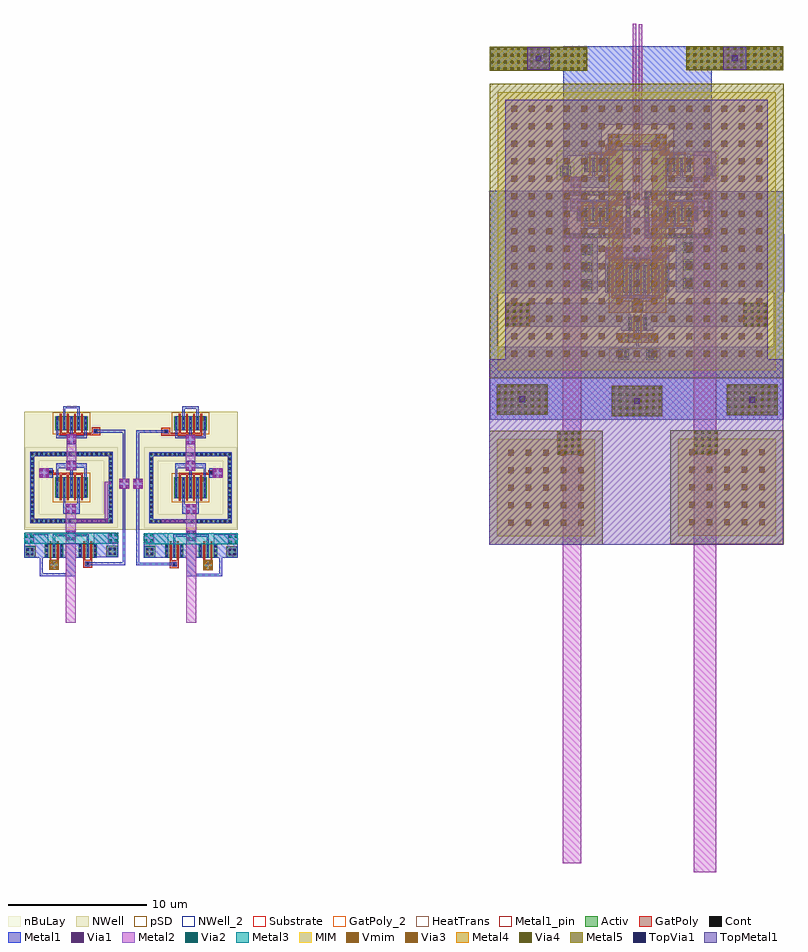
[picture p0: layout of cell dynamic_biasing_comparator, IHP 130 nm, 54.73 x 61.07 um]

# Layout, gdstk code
from math import pi, radians
import gdstk
lib = gdstk.Library(unit=1e-6, precision=1e-09)
def R(c, l, rs):  # rectangles x0, y0, x1, y1
    for r in rs: c.add(gdstk.rectangle(r[:2], r[2:], *l))
def A(c, l, x, y, w, h, nx, ny, dx, dy):  # array of equal rectangles
    R(c, l, [(x+i*dx, y+j*dy, x+i*dx+w, y+j*dy+h) for i in range(nx) for j in range(ny)])
def P(c, l, *ps):  # polygons
    for p in ps: c.add(gdstk.Polygon(p, *l))
Activ = (1, 0)
GatPoly = (5, 0)
GatPoly_2 = (5, 2)
Cont = (6, 0)
Metal1 = (8, 0)
Metal1_pin = (8, 2)
Metal2 = (10, 0)
pSD = (14, 0)
Via1 = (19, 0)
Via2 = (29, 0)
Metal3 = (30, 0)
NWell = (31, 0)
NWell_2 = (31, 2)
nBuLay = (32, 0)
MIM = (36, 0)
Substrate = (40, 0)
Via3 = (49, 0)
Metal4 = (50, 0)
HeatTrans = (51, 0)
Via4 = (66, 0)
Metal5 = (67, 0)
TopVia1 = (125, 0)
TopMetal1 = (126, 0)
Vmim = (129, 0)

cmim = lib.new_cell('cmim')
R(cmim, MIM, [(0,0,20,20)])
R(cmim, Metal5, [(-0.6,-0.6,20.6,20.6)])
R(cmim, TopMetal1, [(0.55,0.55,19.45,19.45)])
A(cmim, Vmim, 0.97, 0.97, 0.42, 0.42, 15, 15, 1.26, 1.26)

via_stack_8 = lib.new_cell('via_stack$8')
R(via_stack_8, Metal1, [(-0.35,-0.35,0.35,0.35)])
R(via_stack_8, Metal2, [(-0.35,-0.35,0.35,0.35)])
R(via_stack_8, Via1, [(-0.3,-0.3,-0.11,-0.11), (0.11,-0.3,0.3,-0.11), (-0.3,0.11,-0.11,0.3), (0.11,0.11,0.3,0.3)])
R(via_stack_8, Via2, [(-0.3,-0.3,-0.11,-0.11), (0.11,-0.3,0.3,-0.11), (-0.3,0.11,-0.11,0.3), (0.11,0.11,0.3,0.3)])
R(via_stack_8, Metal3, [(-0.35,-0.35,0.35,0.35)])
R(via_stack_8, Via3, [(-0.3,-0.3,-0.11,-0.11), (0.11,-0.3,0.3,-0.11), (-0.3,0.11,-0.11,0.3), (0.11,0.11,0.3,0.3)])
R(via_stack_8, Metal4, [(-0.35,-0.35,0.35,0.35)])

via_stack_6 = lib.new_cell('via_stack$6')
R(via_stack_6, Metal1, [(-0.865,-0.865,0.865,0.865)])
R(via_stack_6, Metal2, [(-0.865,-0.865,0.865,0.865)])
A(via_stack_6, Via1, -0.815, -0.815, 0.19, 0.19, 4, 4, 0.48, 0.48)
A(via_stack_6, Via2, -0.815, -0.815, 0.19, 0.19, 4, 4, 0.48, 0.48)
R(via_stack_6, Metal3, [(-0.865,-0.865,0.865,0.865)])
A(via_stack_6, Via3, -0.815, -0.815, 0.19, 0.19, 4, 4, 0.48, 0.48)
R(via_stack_6, Metal4, [(-0.865,-0.865,0.865,0.865)])
A(via_stack_6, Via4, -0.815, -0.815, 0.19, 0.19, 4, 4, 0.48, 0.48)
R(via_stack_6, Metal5, [(-0.865,-0.865,0.865,0.865)])

ntap1 = lib.new_cell('ntap1')
R(ntap1, Activ, [(0,0,0.78,0.78)])
R(ntap1, Cont, [(0.14,0.14,0.3,0.3), (0.48,0.14,0.64,0.3), (0.14,0.48,0.3,0.64), (0.48,0.48,0.64,0.64)])
R(ntap1, Metal1, [(0.14,0.09,0.64,0.69)])
R(ntap1, Metal1_pin, [(0.14,0.09,0.64,0.69), (0.14,0.14,0.64,0.64)])
R(ntap1, NWell, [(-0.24,-0.24,1.02,1.02), (0,0,0.78,0.78)])
R(ntap1, NWell_2, [(0,0,0.78,0.78)])
R(ntap1, nBuLay, [(-0.24,-0.24,1.02,1.02)])
ntap1.add(gdstk.Label('well', (0.39,0.01), layer=31, texttype=0))
ntap1.add(gdstk.Label('well', (0.39,0.01), layer=63, texttype=0))

via_stack = lib.new_cell('via_stack')
R(via_stack, Metal1, [(-0.35,-0.35,0.35,0.35)])
R(via_stack, Metal2, [(-0.35,-0.35,0.35,0.35)])
R(via_stack, Via1, [(-0.3,-0.3,-0.11,-0.11), (0.11,-0.3,0.3,-0.11), (-0.3,0.11,-0.11,0.3), (0.11,0.11,0.3,0.3)])

nmos_3 = lib.new_cell('nmos$3')
A(nmos_3, Activ, 0, 0, 0.3, 0.3, 6, 1, 0.51, 0)
R(nmos_3, Activ, [(-1,-0.88,-0.7,1.88), (3.55,-0.88,3.85,1.88), (0,0,2.85,1), (-1,1.88,3.85,2.18)])
P(nmos_3, Activ, [(-1,-1.18),(-1,1.88),(-0.7,1.88),(-0.7,-0.88),(3.55,-0.88),(3.55,1.88),(-1,1.88),(-1,2.18),(3.85,2.18),(3.85,-1.18)])
A(nmos_3, GatPoly, 0.34, -0.18, 0.13, 1.36, 5, 1, 0.51, 0)
R(nmos_3, GatPoly_2, [(0.34,-0.18,0.47,1.18)])
A(nmos_3, Cont, -0.93, -1.11, 0.16, 0.16, 7, 2, 0.34, 3.06)
A(nmos_3, Cont, 1.58, -1.11, 0.16, 0.16, 7, 2, 0.34, 3.06)
A(nmos_3, Cont, -0.93, -0.77, 0.16, 0.16, 1, 3, 0, 0.34)
A(nmos_3, Cont, 3.62, -0.77, 0.16, 0.16, 1, 3, 0, 0.34)
A(nmos_3, Cont, 0.07, 0.07, 0.16, 0.16, 6, 3, 0.51, 0.35)
A(nmos_3, Cont, -0.93, 0.59, 0.16, 0.16, 1, 4, 0, 0.34)
A(nmos_3, Cont, 3.62, 0.59, 0.16, 0.16, 1, 4, 0, 0.34)
A(nmos_3, Metal1, 0.07, 0, 0.16, 1, 6, 1, 0.51, 0)
R(nmos_3, Metal1, [(-1,-1.18,3.85,-0.88), (-1,-0.88,-0.7,1.88), (3.55,-0.88,3.85,1.88), (-1,1.88,3.85,2.18)])
R(nmos_3, Metal1_pin, [(0.07,0,0.23,1), (0.58,0,0.74,1)])
R(nmos_3, pSD, [(-1.03,-0.85,-0.67,1.85), (3.52,-0.85,3.88,1.85), (-1.03,1.85,3.88,2.21)])
P(nmos_3, pSD, [(-1.03,-1.21),(-1.03,1.85),(-0.67,1.85),(-0.67,-0.85),(3.52,-0.85),(3.52,1.85),(-1.03,1.85),(-1.03,2.21),(3.88,2.21),(3.88,-1.21)])
R(nmos_3, Substrate, [(-1.03,-0.85,-0.67,1.85), (3.52,-0.85,3.88,1.85), (-1.03,1.85,3.88,2.21)])
P(nmos_3, Substrate, [(-1.03,-1.21),(-1.03,1.85),(-0.67,1.85),(-0.67,-0.85),(3.52,-0.85),(3.52,1.85),(-1.03,1.85),(-1.03,2.21),(3.88,2.21),(3.88,-1.21)])
A(nmos_3, HeatTrans, 0.34, -0.18, 0.13, 1.36, 5, 1, 0.51, 0)
nmos_3.add(gdstk.Label('nmos', (0.405,0.5), layer=63, texttype=0))
nmos_3.add(gdstk.Label('sub!', (1.425,-1.03), layer=63, texttype=0))
nmos_3.add(gdstk.Label('nmos', (0.405,0.5), layer=51, texttype=0))
nmos_3.add(gdstk.Label('nmos', (0.915,0.5), layer=51, texttype=0))
nmos_3.add(gdstk.Label('nmos', (1.425,0.5), layer=51, texttype=0))
nmos_3.add(gdstk.Label('nmos', (1.935,0.5), layer=51, texttype=0))
nmos_3.add(gdstk.Label('nmos', (2.445,0.5), layer=51, texttype=0))

via_stack_5 = lib.new_cell('via_stack$5')
R(via_stack_5, Metal1, [(-2.305,-0.385,2.305,0.385)])
R(via_stack_5, Metal2, [(-2.305,-0.385,2.305,0.385)])
A(via_stack_5, Via1, -2.255, -0.335, 0.19, 0.19, 10, 2, 0.48, 0.48)

via_stack_1 = lib.new_cell('via_stack$1')
R(via_stack_1, Metal1, [(-0.145,-0.145,0.145,0.145)])
R(via_stack_1, Metal2, [(-0.145,-0.145,0.145,0.145)])
R(via_stack_1, Via1, [(-0.095,-0.095,0.095,0.095)])

pmos_4 = lib.new_cell('pmos$4')
A(pmos_4, Activ, 0, 0, 0.3, 0.3, 4, 1, 0.51, 0)
R(pmos_4, Activ, [(0,0,1.83,1)])
A(pmos_4, GatPoly, 0.34, -0.18, 0.13, 1.36, 3, 1, 0.51, 0)
R(pmos_4, GatPoly, [(0.34,-0.18,0.47,1.18)])
A(pmos_4, Cont, 0.07, 0.07, 0.16, 0.16, 4, 3, 0.51, 0.35)
A(pmos_4, Metal1, 0.58, 0, 0.16, 1, 3, 1, 0.51, 0)
R(pmos_4, Metal1, [(0.07,0,0.23,1), (0.07,0,0.23,1), (0.58,0,0.74,1)])
R(pmos_4, pSD, [(-0.18,-0.3,2.01,1.3)])
R(pmos_4, NWell, [(-0.31,-0.31,2.14,1.31)])
R(pmos_4, Substrate, [(1.53,0,1.83,0.3)])
A(pmos_4, HeatTrans, 0.34, -0.18, 0.13, 1.36, 3, 1, 0.51, 0)
pmos_4.add(gdstk.Label('pmos', (0.405,0.5), layer=63, texttype=0))
pmos_4.add(gdstk.Label('pmos', (0.405,0.5), layer=51, texttype=0))
pmos_4.add(gdstk.Label('pmos', (0.915,0.5), layer=51, texttype=0))
pmos_4.add(gdstk.Label('pmos', (1.425,0.5), layer=51, texttype=0))

nmos_4 = lib.new_cell('nmos$4')
A(nmos_4, Activ, 0, 0, 0.3, 0.3, 9, 1, 0.51, 0)
R(nmos_4, Activ, [(0,0,4.38,2)])
A(nmos_4, GatPoly, 0.34, -0.18, 0.13, 2.36, 8, 1, 0.51, 0)
R(nmos_4, GatPoly_2, [(0.34,-0.18,0.47,2.18)])
A(nmos_4, Cont, 0.07, 0.07, 0.16, 0.16, 9, 6, 0.51, 0.34)
A(nmos_4, Metal1, 0.07, 0, 0.16, 2, 9, 1, 0.51, 0)
R(nmos_4, Metal1_pin, [(0.07,0,0.23,2), (0.58,0,0.74,2)])
A(nmos_4, HeatTrans, 0.34, -0.18, 0.13, 2.36, 8, 1, 0.51, 0)
nmos_4.add(gdstk.Label('nmos', (0.405,1), layer=63, texttype=0))
nmos_4.add(gdstk.Label('nmos', (0.405,1), layer=51, texttype=0))
nmos_4.add(gdstk.Label('nmos', (0.915,1), layer=51, texttype=0))
nmos_4.add(gdstk.Label('nmos', (1.425,1), layer=51, texttype=0))
nmos_4.add(gdstk.Label('nmos', (1.935,1), layer=51, texttype=0))
nmos_4.add(gdstk.Label('nmos', (2.445,1), layer=51, texttype=0))
nmos_4.add(gdstk.Label('nmos', (2.955,1), layer=51, texttype=0))
nmos_4.add(gdstk.Label('nmos', (3.465,1), layer=51, texttype=0))
nmos_4.add(gdstk.Label('nmos', (3.975,1), layer=51, texttype=0))

via_stack_10 = lib.new_cell('via_stack$10')
R(via_stack_10, Metal1, [(-3.505,-0.865,3.505,0.865)])
R(via_stack_10, Metal2, [(-3.505,-0.865,3.505,0.865)])
A(via_stack_10, Via1, -3.455, -0.815, 0.19, 0.19, 15, 4, 0.48, 0.48)
A(via_stack_10, Via2, -3.455, -0.815, 0.19, 0.19, 15, 4, 0.48, 0.48)
R(via_stack_10, Metal3, [(-3.505,-0.865,3.505,0.865)])
A(via_stack_10, Via3, -3.455, -0.815, 0.19, 0.19, 15, 4, 0.48, 0.48)
R(via_stack_10, Metal4, [(-3.505,-0.865,3.505,0.865)])
A(via_stack_10, Via4, -3.455, -0.815, 0.19, 0.19, 15, 4, 0.48, 0.48)
R(via_stack_10, Metal5, [(-3.505,-0.865,3.505,0.865), (-0.31,-0.31,0.31,0.31)])
R(via_stack_10, TopVia1, [(-0.21,-0.21,0.21,0.21)])
R(via_stack_10, TopMetal1, [(-0.82,-0.82,0.82,0.82)])

ptap1 = lib.new_cell('ptap1')
R(ptap1, Activ, [(0,0,0.78,0.78)])
R(ptap1, Cont, [(0.14,0.14,0.3,0.3), (0.48,0.14,0.64,0.3), (0.14,0.48,0.3,0.64), (0.48,0.48,0.64,0.64)])
R(ptap1, Metal1, [(0.14,0.09,0.64,0.69), (0.14,0.14,0.64,0.64)])
R(ptap1, Metal1_pin, [(0.14,0.14,0.64,0.64)])
R(ptap1, pSD, [(-0.03,-0.03,0.81,0.81)])
R(ptap1, Substrate, [(0,0,0.78,0.78)])
ptap1.add(gdstk.Label('sub!', (0.39,0.01), layer=63, texttype=0))
ptap1.add(gdstk.Label('sub!', (0.39,0.01), layer=40, texttype=0))

pmos = lib.new_cell('pmos')
A(pmos, Activ, 0, 0, 0.3, 0.3, 5, 1, 0.51, 0)
R(pmos, Activ, [(0,0,2.34,1)])
A(pmos, GatPoly, 0.34, -0.18, 0.13, 1.36, 4, 1, 0.51, 0)
R(pmos, GatPoly, [(0.34,-0.18,0.47,1.18)])
A(pmos, Cont, 0.07, 0.07, 0.16, 0.16, 5, 3, 0.51, 0.35)
A(pmos, Metal1, 0.58, 0, 0.16, 1, 4, 1, 0.51, 0)
R(pmos, Metal1, [(0.07,0,0.23,1), (0.07,0,0.23,1), (0.58,0,0.74,1)])
R(pmos, pSD, [(-0.18,-0.3,2.52,1.3)])
R(pmos, NWell, [(-0.31,-0.31,2.65,1.31)])
R(pmos, Substrate, [(2.04,0,2.34,0.3)])
A(pmos, HeatTrans, 0.34, -0.18, 0.13, 1.36, 4, 1, 0.51, 0)
pmos.add(gdstk.Label('pmos', (0.405,0.5), layer=63, texttype=0))
pmos.add(gdstk.Label('pmos', (0.405,0.5), layer=51, texttype=0))
pmos.add(gdstk.Label('pmos', (0.915,0.5), layer=51, texttype=0))
pmos.add(gdstk.Label('pmos', (1.425,0.5), layer=51, texttype=0))
pmos.add(gdstk.Label('pmos', (1.935,0.5), layer=51, texttype=0))

nmos_7 = lib.new_cell('nmos$7')
A(nmos_7, Activ, 0, 0, 0.3, 0.3, 3, 1, 0.51, 0)
R(nmos_7, Activ, [(0,0,1.32,1)])
R(nmos_7, GatPoly, [(0.34,-0.18,0.47,1.18), (0.85,-0.18,0.98,1.18)])
R(nmos_7, GatPoly_2, [(0.34,-0.18,0.47,1.18)])
A(nmos_7, Cont, 0.07, 0.07, 0.16, 0.16, 3, 3, 0.51, 0.35)
A(nmos_7, Metal1, 0.07, 0, 0.16, 1, 3, 1, 0.51, 0)
R(nmos_7, Metal1_pin, [(0.07,0,0.23,1), (0.58,0,0.74,1)])
R(nmos_7, HeatTrans, [(0.34,-0.18,0.47,1.18), (0.85,-0.18,0.98,1.18)])
nmos_7.add(gdstk.Label('nmos', (0.405,0.5), layer=63, texttype=0))
nmos_7.add(gdstk.Label('nmos', (0.405,0.5), layer=51, texttype=0))
nmos_7.add(gdstk.Label('nmos', (0.915,0.5), layer=51, texttype=0))

pmos_6 = lib.new_cell('pmos$6')
A(pmos_6, Activ, 0, 0, 0.3, 0.3, 5, 1, 0.51, 0)
R(pmos_6, Activ, [(-1.81,-1.51,-1.51,3.01), (3.85,-1.51,4.15,3.01), (0,0,2.34,1.5), (-1.81,3.01,4.15,3.31)])
P(pmos_6, Activ, [(-1.81,-1.81),(-1.81,3.01),(-1.51,3.01),(-1.51,-1.51),(3.85,-1.51),(3.85,3.01),(-1.81,3.01),(-1.81,3.31),(4.15,3.31),(4.15,-1.81)])
A(pmos_6, GatPoly, 0.34, -0.18, 0.13, 1.86, 4, 1, 0.51, 0)
R(pmos_6, GatPoly, [(0.34,-0.18,0.47,1.68)])
A(pmos_6, Cont, -1.74, -1.74, 0.16, 0.16, 8, 2, 0.34, 4.82)
A(pmos_6, Cont, 1.2, -1.74, 0.16, 0.16, 9, 2, 0.34, 4.82)
A(pmos_6, Cont, -1.74, -1.4, 0.16, 0.16, 1, 6, 0, 0.34)
A(pmos_6, Cont, 3.92, -1.4, 0.16, 0.16, 1, 6, 0, 0.34)
A(pmos_6, Cont, 0.07, 0.07, 0.16, 0.16, 5, 4, 0.51, 0.4)
A(pmos_6, Cont, -1.74, 0.7, 0.16, 0.16, 1, 7, 0, 0.34)
A(pmos_6, Cont, 3.92, 0.7, 0.16, 0.16, 1, 7, 0, 0.34)
A(pmos_6, Metal1, 0.58, 0, 0.16, 1.5, 4, 1, 0.51, 0)
R(pmos_6, Metal1, [(-1.81,-1.81,4.15,-1.51), (-1.81,-1.51,-1.51,3.01), (3.85,-1.51,4.15,3.01), (0.07,0,0.23,1.5), (0.07,0,0.23,1.5), (0.58,0,0.74,1.5), (-1.81,3.01,4.15,3.31)])
R(pmos_6, pSD, [(-0.18,-0.3,2.52,1.8)])
R(pmos_6, NWell, [(-2.05,-2.05,4.39,3.55), (-0.31,-0.31,2.65,1.81)])
R(pmos_6, nBuLay, [(-2.16,-1.16,-1.16,2.66), (3.5,-1.16,4.5,2.66), (-2.16,2.66,4.5,3.66)])
P(pmos_6, nBuLay, [(-2.16,-2.16),(-2.16,2.66),(-1.16,2.66),(-1.16,-1.16),(3.5,-1.16),(3.5,2.66),(-2.16,2.66),(-2.16,3.66),(4.5,3.66),(4.5,-2.16)])
R(pmos_6, Substrate, [(2.04,0,2.34,0.3)])
A(pmos_6, HeatTrans, 0.34, -0.18, 0.13, 1.86, 4, 1, 0.51, 0)
pmos_6.add(gdstk.Label('pmos', (0.405,0.75), layer=63, texttype=0))
pmos_6.add(gdstk.Label('well', (1.17,-1.66), layer=63, texttype=0))
pmos_6.add(gdstk.Label('pmos', (0.405,0.75), layer=51, texttype=0))
pmos_6.add(gdstk.Label('pmos', (0.915,0.75), layer=51, texttype=0))
pmos_6.add(gdstk.Label('pmos', (1.425,0.75), layer=51, texttype=0))
pmos_6.add(gdstk.Label('pmos', (1.935,0.75), layer=51, texttype=0))

via_stack_14 = lib.new_cell('via_stack$14')
R(via_stack_14, Metal1, [(-0.35,-0.35,0.35,0.35)])
R(via_stack_14, Metal2, [(-0.35,-0.35,0.35,0.35)])
R(via_stack_14, Via1, [(-0.3,-0.3,-0.11,-0.11), (0.11,-0.3,0.3,-0.11), (-0.3,0.11,-0.11,0.3), (0.11,0.11,0.3,0.3)])
R(via_stack_14, Via2, [(-0.3,-0.3,-0.11,-0.11), (0.11,-0.3,0.3,-0.11), (-0.3,0.11,-0.11,0.3), (0.11,0.11,0.3,0.3)])
R(via_stack_14, Metal3, [(-0.35,-0.35,0.35,0.35)])

via_stack_13 = lib.new_cell('via_stack$13')
R(via_stack_13, Metal2, [(-0.865,-0.865,0.865,0.865)])
A(via_stack_13, Via2, -0.815, -0.815, 0.19, 0.19, 4, 4, 0.48, 0.48)
R(via_stack_13, Metal3, [(-0.865,-0.865,0.865,0.865)])
A(via_stack_13, Via3, -0.815, -0.815, 0.19, 0.19, 4, 4, 0.48, 0.48)
R(via_stack_13, Metal4, [(-0.865,-0.865,0.865,0.865)])
A(via_stack_13, Via4, -0.815, -0.815, 0.19, 0.19, 4, 4, 0.48, 0.48)
R(via_stack_13, Metal5, [(-0.865,-0.865,0.865,0.865)])

via_stack_12 = lib.new_cell('via_stack$12')
R(via_stack_12, Metal1, [(-1.825,-1.105,1.825,1.105)])
R(via_stack_12, Metal2, [(-1.825,-1.105,1.825,1.105)])
A(via_stack_12, Via1, -1.775, -1.055, 0.19, 0.19, 8, 5, 0.48, 0.48)
A(via_stack_12, Via2, -1.775, -1.055, 0.19, 0.19, 8, 5, 0.48, 0.48)
R(via_stack_12, Metal3, [(-1.825,-1.105,1.825,1.105)])
A(via_stack_12, Via3, -1.775, -1.055, 0.19, 0.19, 8, 5, 0.48, 0.48)
R(via_stack_12, Metal4, [(-1.825,-1.105,1.825,1.105)])
A(via_stack_12, Via4, -1.775, -1.055, 0.19, 0.19, 8, 5, 0.48, 0.48)
R(via_stack_12, Metal5, [(-1.825,-1.105,1.825,1.105), (-0.31,-0.31,0.31,0.31)])
R(via_stack_12, TopVia1, [(-0.21,-0.21,0.21,0.21)])
R(via_stack_12, TopMetal1, [(-0.82,-0.82,0.82,0.82)])

cmim_1 = lib.new_cell('cmim$1')
R(cmim_1, MIM, [(0,0,7,7)])
R(cmim_1, Metal5, [(-0.6,-0.6,7.6,7.6)])
R(cmim_1, TopMetal1, [(0.35,0.35,6.65,6.65)])
A(cmim_1, Vmim, 0.77, 0.77, 0.42, 0.42, 5, 5, 1.26, 1.26)

nmos = lib.new_cell('nmos')
A(nmos, Activ, 0, 0, 0.3, 0.3, 3, 1, 0.51, 0)
R(nmos, Activ, [(0,0,1.32,1)])
R(nmos, GatPoly, [(0.34,-0.18,0.47,1.18), (0.85,-0.18,0.98,1.18)])
R(nmos, GatPoly_2, [(0.34,-0.18,0.47,1.18)])
A(nmos, Cont, 0.07, 0.07, 0.16, 0.16, 3, 3, 0.51, 0.35)
A(nmos, Metal1, 0.07, 0, 0.16, 1, 3, 1, 0.51, 0)
R(nmos, Metal1_pin, [(0.07,0,0.23,1), (0.58,0,0.74,1)])
R(nmos, HeatTrans, [(0.34,-0.18,0.47,1.18), (0.85,-0.18,0.98,1.18)])
nmos.add(gdstk.Label('nmos', (0.405,0.5), layer=63, texttype=0))
nmos.add(gdstk.Label('nmos', (0.405,0.5), layer=51, texttype=0))
nmos.add(gdstk.Label('nmos', (0.915,0.5), layer=51, texttype=0))

dynamic_biasing_comparat = lib.new_cell('dynamic_biasing_comparator')
R(dynamic_biasing_comparat, GatPoly, [(-16.595,-8.425,-15.955,-7.845), (-22.83,-8.41,-22.19,-7.83), (-14.175,-8.41,-13.535,-7.83), (-25.25,-8.395,-24.61,-7.815), (-17.195,1.12,-16.555,1.7), (-16.57,1.12,-14.275,1.32), (-24.51,1.135,-22.215,1.335), (-22.23,1.135,-21.59,1.715), (16.365,8.17,16.89,8.5), (17.27,8.17,17.995,8.5), (16.93,10.41,17.25,10.73), (15.23,13.545,18.93,13.78), (13.055,16.21,15.225,16.41), (13.055,16.21,15.225,16.41), (13.055,16.21,15.225,16.41), (13.055,16.21,15.225,16.41), (18.935,16.21,21.105,16.41), (18.935,16.21,21.105,16.41), (18.935,16.21,21.105,16.41), (18.935,16.21,21.105,16.41), (13.055,17.62,15.72,18.01), (13.055,17.62,15.72,18.01), (13.055,17.62,15.72,18.01), (13.055,17.62,15.72,18.01), (18.44,17.62,21.105,18.01), (18.44,17.62,21.105,18.01), (18.44,17.62,21.105,18.01), (18.44,17.62,21.105,18.01), (15.4,17.74,15.72,18.06), (15.4,17.74,15.72,18.06), (15.4,17.74,15.72,18.06), (15.4,17.74,15.72,18.06), (18.44,17.74,18.76,18.06), (18.44,17.74,18.76,18.06), (18.44,17.74,18.76,18.06), (18.44,17.74,18.76,18.06), (13.595,21.3,15.515,21.51), (14.785,21.3,15.515,22.05), (18.645,21.3,20.565,21.51), (18.645,21.3,19.375,22.05), (14.965,21.66,15.285,21.98), (15.125,21.66,15.445,21.98), (18.89,21.66,19.21,21.98)])
P(dynamic_biasing_comparat, GatPoly, [(-25.39,-1.69),(-25.39,-1.375),(-24.955,-1.375),(-24.955,-1.55),(-22.85,-1.55),(-22.85,-1.69)],
  [(-15.935,-1.705),(-15.935,-1.565),(-13.83,-1.565),(-13.83,-1.39),(-13.395,-1.39),(-13.395,-1.705)],
  [(16.76,10.31),(16.76,11.005),(15.225,11.005),(15.225,11.24),(16.76,11.24),(16.76,11.285),(17.4,11.285),(17.4,11.24),(18.93,11.24),(18.93,11.005),(17.4,11.005),(17.4,10.31)])
R(dynamic_biasing_comparat, Cont, [(-16.355,-8.205,-16.195,-8.045), (-22.59,-8.19,-22.43,-8.03), (-13.935,-8.19,-13.775,-8.03), (-25.01,-8.175,-24.85,-8.015), (-13.675,-1.62,-13.515,-1.46), (-25.27,-1.605,-25.11,-1.445), (-16.955,1.34,-16.795,1.5), (-21.99,1.355,-21.83,1.515), (16.5,8.27,16.66,8.43), (17.51,8.27,17.67,8.43), (17.01,10.49,17.17,10.65), (17.01,10.49,17.17,10.65), (17.01,10.49,17.17,10.65), (17.01,10.49,17.17,10.65), (15.48,17.82,15.64,17.98), (15.48,17.82,15.64,17.98), (15.48,17.82,15.64,17.98), (15.48,17.82,15.64,17.98), (18.52,17.82,18.68,17.98), (18.52,17.82,18.68,17.98), (18.52,17.82,18.68,17.98), (18.52,17.82,18.68,17.98), (15.045,21.74,15.205,21.9), (18.97,21.74,19.13,21.9)])
R(dynamic_biasing_comparat, Metal1, [(-15.405,-9.015,-14.705,-7.66), (-24.08,-9,-23.38,-7.645), (-14.205,-8.56,-13.505,-7.86), (-25.28,-8.545,-24.58,-7.845), (-13.425,-7.685,-11.69,-6), (-15.85,-7.675,-14.285,-6.675), (-27.095,-7.67,-25.36,-5.985), (-18.47,-7.665,-16.705,-5.9), (-24.5,-7.66,-22.935,-6.66), (-22.08,-7.65,-20.315,-5.885), (-13.765,-1.935,-12.79,-1.235), (-25.995,-1.92,-25.02,-1.22), (15.68,7.795,16.78,8.5), (17.365,7.795,18.585,8.5), (7.585,8.965,16.015,10.695), (16.67,10.005,17.485,10.78), (14.315,16.07,14.475,16.71), (14.315,16.07,14.475,16.71), (14.315,16.07,14.475,16.71), (14.315,16.07,14.475,16.71), (19.685,16.07,19.845,16.71), (19.685,16.07,19.845,16.71), (19.685,16.07,19.845,16.71), (19.685,16.07,19.845,16.71), (15.335,16.075,15.495,16.715), (15.335,16.075,15.495,16.715), (15.335,16.075,15.495,16.715), (15.335,16.075,15.495,16.715), (18.665,16.075,18.825,16.715), (18.665,16.075,18.825,16.715), (18.665,16.075,18.825,16.715), (18.665,16.075,18.825,16.715), (15.275,16.11,16.065,16.875), (15.275,16.11,16.065,16.875), (15.275,16.11,16.065,16.875), (15.275,16.11,16.065,16.875), (18.095,16.11,18.885,16.875), (18.095,16.11,18.885,16.875), (18.095,16.11,18.885,16.875), (18.095,16.11,18.885,16.875), (12.235,17.28,13.045,18.185), (12.235,17.28,13.045,18.185), (12.235,17.28,13.045,18.185), (12.235,17.28,13.045,18.185), (21.115,17.28,21.925,18.185), (21.115,17.28,21.925,18.185), (21.115,17.28,21.925,18.185), (21.115,17.28,21.925,18.185), (13.805,17.44,13.965,18.08), (13.805,17.44,13.965,18.08), (13.805,17.44,13.965,18.08), (13.805,17.44,13.965,18.08), (20.195,17.44,20.355,18.08), (20.195,17.44,20.355,18.08), (20.195,17.44,20.355,18.08), (20.195,17.44,20.355,18.08), (14.825,17.45,14.985,18.09), (14.825,17.45,14.985,18.09), (14.825,17.45,14.985,18.09), (14.825,17.45,14.985,18.09), (19.175,17.45,19.335,18.09), (19.175,17.45,19.335,18.09), (19.175,17.45,19.335,18.09), (19.175,17.45,19.335,18.09), (15.4,17.74,15.72,18.06), (15.4,17.74,15.72,18.06), (15.4,17.74,15.72,18.06), (15.4,17.74,15.72,18.06), (18.44,17.74,18.76,18.06), (18.44,17.74,18.76,18.06), (18.44,17.74,18.76,18.06), (18.44,17.74,18.76,18.06), (13.325,21.12,13.485,21.555), (14.345,21.12,14.505,21.555)])
P(dynamic_biasing_comparat, Metal1, [(-25.01,-6.685),(-25.01,-5.975),(-22.43,-5.975),(-22.43,-6.675),(-22.59,-6.675),(-22.59,-6.135),(-24.85,-6.135),(-24.85,-6.685)],
  [(-22.69,-8.275),(-22.69,-7.97),(-22.365,-7.97),(-22.365,-8.015),(-19.99,-8.015),(-19.99,1.335),(-21.775,1.335),(-21.775,1.285),(-22.075,1.285),(-22.075,1.57),(-21.775,1.57),(-21.775,1.535),(-19.79,1.535),(-19.79,-8.215),(-22.365,-8.215),(-22.365,-8.275)],
  [(-13.935,-6.7),(-13.935,-6.15),(-16.195,-6.15),(-16.195,-6.69),(-16.355,-6.69),(-16.355,-5.99),(-13.775,-5.99),(-13.775,-6.7)],
  [(-16.42,-8.29),(-16.42,-8.23),(-18.995,-8.23),(-18.995,1.52),(-17.01,1.52),(-17.01,1.555),(-16.71,1.555),(-16.71,1.27),(-17.01,1.27),(-17.01,1.32),(-18.795,1.32),(-18.795,-8.03),(-16.42,-8.03),(-16.42,-7.985),(-16.095,-7.985),(-16.095,-8.29)],
  [(-22.74,-2.08),(-22.74,-1.21),(-23.32,-1.21),(-23.32,-1.395),(-23.6,-1.395),(-23.6,-1.895),(-23.76,-1.895),(-23.76,-1.395),(-24.035,-1.395),(-24.035,-1.22),(-24.62,-1.22),(-24.62,-1.87),(-24.78,-1.87),(-24.78,-0.87),(-24.035,-0.87),(-24.035,-0.69),(-23.32,-0.69),(-23.32,-0.87),(-22.58,-0.87),(-22.58,-2.08)],
  [(-24.27,-4.5),(-24.27,-3.37),(-24.11,-3.37),(-24.11,-3.8),(-23.25,-3.8),(-23.25,-3.28),(-23.09,-3.28),(-23.09,-4.5)],
  [(-24.03,0.495),(-24.03,0.935),(-24.78,0.935),(-24.78,1.57),(-24.62,1.57),(-24.62,1.095),(-24.03,1.095),(-24.03,1.21),(-23.76,1.21),(-23.76,1.535),(-23.6,1.535),(-23.6,1.21),(-23.325,1.21),(-23.325,1.095),(-22.74,1.095),(-22.74,1.65),(-22.58,1.65),(-22.58,0.935),(-23.325,0.935),(-23.325,0.495)],
  [(-23.25,2.39),(-23.25,3.07),(-24.11,3.07),(-24.11,2.445),(-24.27,2.445),(-24.27,3.23),(-23.09,3.23),(-23.09,2.39)],
  [(-16.205,-2.095),(-16.205,-0.885),(-15.465,-0.885),(-15.465,-0.705),(-14.75,-0.705),(-14.75,-0.885),(-14.005,-0.885),(-14.005,-1.885),(-14.165,-1.885),(-14.165,-1.235),(-14.75,-1.235),(-14.75,-1.41),(-15.025,-1.41),(-15.025,-1.91),(-15.185,-1.91),(-15.185,-1.41),(-15.465,-1.41),(-15.465,-1.225),(-16.045,-1.225),(-16.045,-2.095)],
  [(-15.695,-4.515),(-15.695,-3.295),(-15.535,-3.295),(-15.535,-3.815),(-14.675,-3.815),(-14.675,-3.385),(-14.515,-3.385),(-14.515,-4.515)],
  [(-15.46,0.48),(-15.46,0.92),(-16.205,0.92),(-16.205,1.635),(-16.045,1.635),(-16.045,1.08),(-15.46,1.08),(-15.46,1.195),(-15.185,1.195),(-15.185,1.52),(-15.025,1.52),(-15.025,1.195),(-14.755,1.195),(-14.755,1.08),(-14.165,1.08),(-14.165,1.555),(-14.005,1.555),(-14.005,0.92),(-14.755,0.92),(-14.755,0.48)],
  [(-15.695,2.375),(-15.695,3.215),(-14.515,3.215),(-14.515,2.43),(-14.675,2.43),(-14.675,3.055),(-15.535,3.055),(-15.535,2.375)],
  [(15.92,8.68),(15.92,10.975),(15.47,10.975),(15.47,11.415),(15.63,11.415),(15.63,11.225),(16.49,11.225),(16.49,11.415),(16.65,11.415),(16.65,11.225),(17.51,11.225),(17.51,11.415),(17.67,11.415),(17.67,11.225),(18.53,11.225),(18.53,11.415),(18.69,11.415),(18.69,10.975),(18.2,10.975),(18.2,10.685),(26.42,10.685),(26.42,8.955),(18.2,8.955),(18.2,8.68),(17.625,8.68),(17.625,9.625),(17.505,9.625),(17.505,9.805),(17.685,9.805),(17.685,10.975),(16.47,10.975),(16.47,9.805),(16.645,9.805),(16.645,9.625),(16.52,9.625),(16.52,8.68)],
  [(6.43,2.245),(6.43,5.64),(6.415,5.64),(6.415,15.36),(6.41,15.36),(6.41,18.74),(11.85,18.74),(11.85,15.685),(14.215,15.685),(14.215,11.36),(7.025,11.36),(7.025,7.53),(17,7.53),(17,8.68),(17.16,8.68),(17.16,7.53),(26.885,7.53),(26.885,11.435),(19.82,11.435),(19.82,15.605),(22.285,15.605),(22.285,18.72),(27.625,18.72),(27.625,15.605),(27.63,15.605),(27.63,11.435),(27.625,11.435),(27.625,2.245)],
  [(11.745,20.47),(11.745,29.15),(14.505,29.15),(19.655,29.15),(22.415,29.15),(22.415,20.47),(22.095,20.47),(22.095,21.28),(20.835,21.28),(20.835,21.12),(20.675,21.12),(20.675,21.3),(19.815,21.3),(19.815,21.12),(19.655,21.12),(19.655,23.49),(14.505,23.49),(14.505,21.12),(14.345,21.12),(14.345,21.3),(13.485,21.3),(13.485,21.12),(13.325,21.12),(13.325,21.28),(12.065,21.28),(12.065,20.47)],
  [(12.26,18.95),(12.26,19.705),(13.835,19.705),(13.835,20.13),(13.995,20.13),(13.995,19.705),(14.855,19.705),(14.855,20.205),(15.015,20.205),(15.015,19.545),(15.015,18.95)],
  [(19.145,18.95),(19.145,19.545),(19.145,20.205),(19.305,20.205),(19.305,19.705),(20.165,19.705),(20.165,20.13),(20.325,20.13),(20.325,19.705),(21.9,19.705),(21.9,18.95)],
  [(14.955,21.66),(14.955,22.855),(15.815,22.855),(15.815,21.985),(18.35,21.985),(18.35,22.855),(19.205,22.855),(19.205,21.66)],
  [(14.765,11.415),(14.765,14.675),(19.375,14.675),(19.375,11.415),(19.2,11.415),(19.2,13.39),(19.04,13.39),(19.04,13.805),(18.18,13.805),(18.18,13.39),(18.02,13.39),(18.02,13.805),(17.16,13.805),(17.16,13.39),(17,13.39),(17,13.805),(16.14,13.805),(16.14,13.39),(15.98,13.39),(15.98,13.805),(15.12,13.805),(15.12,13.39),(14.96,13.39),(14.96,11.415)],
  [(13.295,15.995),(13.295,16.715),(13.455,16.715),(13.455,16.155),(15.495,16.155),(15.495,15.995)],
  [(12.785,17.39),(12.785,18.11),(14.985,18.11),(14.985,17.95),(12.945,17.95),(12.945,17.39)],
  [(13.295,15.995),(13.295,16.715),(13.455,16.715),(13.455,16.155),(15.495,16.155),(15.495,15.995)],
  [(12.785,17.39),(12.785,18.11),(14.985,18.11),(14.985,17.95),(12.945,17.95),(12.945,17.39)],
  [(12.785,17.39),(12.785,18.11),(14.985,18.11),(14.985,17.95),(12.945,17.95),(12.945,17.39)],
  [(13.295,15.995),(13.295,16.715),(13.455,16.715),(13.455,16.155),(15.495,16.155),(15.495,15.995)],
  [(18.665,15.995),(18.665,16.155),(20.705,16.155),(20.705,16.715),(20.865,16.715),(20.865,15.995)],
  [(21.215,17.39),(21.215,17.95),(19.175,17.95),(19.175,18.11),(21.375,18.11),(21.375,17.39)],
  [(18.665,15.995),(18.665,16.155),(20.705,16.155),(20.705,16.715),(20.865,16.715),(20.865,15.995)],
  [(21.215,17.39),(21.215,17.95),(19.175,17.95),(19.175,18.11),(21.375,18.11),(21.375,17.39)],
  [(21.215,17.39),(21.215,17.95),(19.175,17.95),(19.175,18.11),(21.375,18.11),(21.375,17.39)],
  [(18.665,15.995),(18.665,16.155),(20.705,16.155),(20.705,16.715),(20.865,16.715),(20.865,15.995)],
  [(21.215,17.39),(21.215,17.95),(19.175,17.95),(19.175,18.11),(21.375,18.11),(21.375,17.39)],
  [(18.665,15.995),(18.665,16.155),(20.705,16.155),(20.705,16.715),(20.865,16.715),(20.865,15.995)],
  [(12.785,17.39),(12.785,18.11),(14.985,18.11),(14.985,17.95),(12.945,17.95),(12.945,17.39)],
  [(13.295,15.995),(13.295,16.715),(13.455,16.715),(13.455,16.155),(15.495,16.155),(15.495,15.995)])
R(dynamic_biasing_comparat, Metal2, [(21.145,-30.31,22.745,21.57), (11.685,-29.68,13.02,19.74), (-15.465,-1.405,-14.755,1.195), (-24.03,-1.39,-23.32,1.21), (12.23,17.295,13.02,19.74), (12.23,17.295,13.02,19.74), (12.23,17.295,13.02,19.74), (21.14,17.295,21.93,19.74), (21.14,17.295,21.93,19.74), (21.14,17.295,21.93,19.74), (15.365,17.71,16.975,18.09), (16.745,18.03,16.975,30.76), (17.185,18.03,17.415,30.72)])
P(dynamic_biasing_comparat, Metal2, [(-24.08,-12.35),(-24.08,-3.8),(-23.38,-3.8),(-23.38,-4.93),(-21.61,-4.93),(-21.61,-5.13),(-23.38,-5.13),(-23.38,-12.35)],
  [(-15.405,-12.365),(-15.405,-5.135),(-17.175,-5.135),(-17.175,-4.935),(-15.405,-4.935),(-15.405,-3.815),(-14.705,-3.815),(-14.705,-12.365)],
  [(17.185,17.71),(17.185,17.98),(17.185,18.09),(18.79,18.09),(18.79,17.71)],
  [(15.315,14.575),(15.315,16.83),(15.325,16.83),(15.325,16.835),(18.835,16.835),(18.835,16.135),(18.83,16.135),(18.83,14.575)])
R(dynamic_biasing_comparat, pSD, [(15.05,6.385,18.735,7.415), (12.995,11.575,13.87,15.54), (20.325,11.685,21.17,15.535)])
R(dynamic_biasing_comparat, Metal3, [(-18.47,-6.7,-11.69,-5.9), (-27.095,-6.685,-20.315,-5.885)])
R(dynamic_biasing_comparat, NWell, [(-18.475,-5.67,-11.695,2.825), (-27.09,-5.655,-18.2,2.84), (11.265,19.535,22.895,21.635)])
R(dynamic_biasing_comparat, Metal4, [(15.735,7.795,18.54,8.495), (15.525,9.97,18.595,10.83), (15.02,22.08,19.14,22.8)])
R(dynamic_biasing_comparat, TopMetal1, [(6.39,-6.725,27.59,6.6)])
dynamic_biasing_comparat.add(gdstk.FlexPath([(-24.045,-8.9),(-25.855,-8.9),(-25.855,-7.115),(-25.855,-7.115)], 0.2, ends="flush", simple_path=True, layer=8, datatype=0))  # Metal1
dynamic_biasing_comparat.add(gdstk.FlexPath([(-14.74,-8.915),(-12.93,-8.915),(-12.93,-7.13),(-12.93,-7.13)], 0.2, ends="flush", simple_path=True, layer=8, datatype=0))  # Metal1
dynamic_biasing_comparat.add(gdstk.FlexPath([(-21.645,-5.03),(-21.18,-5.03),(-21.18,-2.3),(-20.845,-2.3)], 0.2, ends="flush", simple_path=True, layer=10, datatype=0))  # Metal2
dynamic_biasing_comparat.add(gdstk.FlexPath([(-21.645,-5.03),(-21.18,-5.03),(-21.18,-2.3),(-20.845,-2.3)], 0.2, ends="flush", simple_path=True, layer=10, datatype=0))  # Metal2
dynamic_biasing_comparat.add(gdstk.FlexPath([(15.52,22.08),(15.52,9.965)], 1, ends="flush", simple_path=True, layer=50, datatype=0))  # Metal4
dynamic_biasing_comparat.add(gdstk.FlexPath([(18.64,22.08),(18.64,9.965)], 1, ends="flush", simple_path=True, layer=50, datatype=0))  # Metal4
dynamic_biasing_comparat.add(gdstk.Reference(cmim, (7.025,5.84)))
dynamic_biasing_comparat.add(gdstk.Reference(via_stack_8, (17.09,10.385), rotation=pi))
dynamic_biasing_comparat.add(gdstk.Reference(via_stack_6, (8.45,9.83), rotation=pi))
dynamic_biasing_comparat.add(gdstk.Reference(via_stack_6, (25.555,9.82), rotation=pi))
dynamic_biasing_comparat.add(gdstk.Reference(ntap1, (21.875,20.56), x_reflection=True))
dynamic_biasing_comparat.add(gdstk.Reference(via_stack, (21.515,19.325), x_reflection=True))
dynamic_biasing_comparat.add(gdstk.Reference(via_stack, (21.515,19.325), x_reflection=True))
dynamic_biasing_comparat.add(gdstk.Reference(ntap1, (21.875,20.56), x_reflection=True))
dynamic_biasing_comparat.add(gdstk.Reference(via_stack, (21.515,17.735), x_reflection=True))
dynamic_biasing_comparat.add(gdstk.Reference(nmos_3, (21.445,16.54), rotation=pi, x_reflection=True))
dynamic_biasing_comparat.add(gdstk.Reference(nmos_3, (21.445,16.54), rotation=pi, x_reflection=True))
dynamic_biasing_comparat.add(gdstk.Reference(via_stack, (21.515,17.735), x_reflection=True))
dynamic_biasing_comparat.add(gdstk.Reference(ntap1, (21.875,20.56), x_reflection=True))
dynamic_biasing_comparat.add(gdstk.Reference(via_stack, (21.515,19.325), x_reflection=True))
dynamic_biasing_comparat.add(gdstk.Reference(via_stack, (21.515,19.325), x_reflection=True))
dynamic_biasing_comparat.add(gdstk.Reference(ntap1, (21.875,20.56), x_reflection=True))
dynamic_biasing_comparat.add(gdstk.Reference(via_stack, (21.515,17.735), x_reflection=True))
dynamic_biasing_comparat.add(gdstk.Reference(nmos_3, (21.445,16.54), rotation=pi, x_reflection=True))
dynamic_biasing_comparat.add(gdstk.Reference(via_stack_5, (17.07,14.29), rotation=pi))
dynamic_biasing_comparat.add(gdstk.Reference(ntap1, (12.285,20.56), rotation=pi))
dynamic_biasing_comparat.add(gdstk.Reference(via_stack_1, (15.56,17.905), rotation=pi))
dynamic_biasing_comparat.add(gdstk.Reference(via_stack, (15.675,16.485), rotation=pi))
dynamic_biasing_comparat.add(gdstk.Reference(via_stack, (12.645,17.735), rotation=pi))
dynamic_biasing_comparat.add(gdstk.Reference(nmos_3, (12.715,16.54)))
dynamic_biasing_comparat.add(gdstk.Reference(via_stack_8, (15.37,22.45), rotation=pi))
dynamic_biasing_comparat.add(gdstk.Reference(via_stack_1, (15.56,17.905), rotation=pi))
dynamic_biasing_comparat.add(gdstk.Reference(ntap1, (12.285,20.56), rotation=pi))
dynamic_biasing_comparat.add(gdstk.Reference(via_stack, (18.485,16.485), x_reflection=True))
dynamic_biasing_comparat.add(gdstk.Reference(via_stack_1, (18.6,17.905), x_reflection=True))
dynamic_biasing_comparat.add(gdstk.Reference(pmos_4, (13.255,20.12)))
dynamic_biasing_comparat.add(gdstk.Reference(via_stack, (12.645,19.325), rotation=pi))
dynamic_biasing_comparat.add(gdstk.Reference(via_stack, (12.645,19.325), rotation=pi))
dynamic_biasing_comparat.add(gdstk.Reference(pmos_4, (13.255,20.12)))
dynamic_biasing_comparat.add(gdstk.Reference(pmos_4, (20.905,20.12), rotation=pi, x_reflection=True))
dynamic_biasing_comparat.add(gdstk.Reference(nmos_4, (14.89,11.415)))
dynamic_biasing_comparat.add(gdstk.Reference(pmos_4, (20.905,20.12), rotation=pi, x_reflection=True))
dynamic_biasing_comparat.add(gdstk.Reference(nmos_3, (12.715,16.54)))
dynamic_biasing_comparat.add(gdstk.Reference(ntap1, (12.285,20.56), rotation=pi))
dynamic_biasing_comparat.add(gdstk.Reference(via_stack_1, (15.56,17.905), rotation=pi))
dynamic_biasing_comparat.add(gdstk.Reference(via_stack_1, (18.6,17.905), x_reflection=True))
dynamic_biasing_comparat.add(gdstk.Reference(via_stack, (18.485,16.485), x_reflection=True))
dynamic_biasing_comparat.add(gdstk.Reference(via_stack, (15.675,16.485), rotation=pi))
dynamic_biasing_comparat.add(gdstk.Reference(via_stack, (12.645,17.735), rotation=pi))
dynamic_biasing_comparat.add(gdstk.Reference(via_stack_8, (18.79,22.43), rotation=pi))
dynamic_biasing_comparat.add(gdstk.Reference(nmos_3, (12.715,16.54)))
dynamic_biasing_comparat.add(gdstk.Reference(via_stack, (12.645,17.735), rotation=pi))
dynamic_biasing_comparat.add(gdstk.Reference(via_stack, (15.675,16.485), rotation=pi))
dynamic_biasing_comparat.add(gdstk.Reference(via_stack, (18.485,16.485), x_reflection=True))
dynamic_biasing_comparat.add(gdstk.Reference(via_stack_1, (18.6,17.905), x_reflection=True))
dynamic_biasing_comparat.add(gdstk.Reference(nmos_3, (12.715,16.54)))
dynamic_biasing_comparat.add(gdstk.Reference(via_stack, (12.645,17.735), rotation=pi))
dynamic_biasing_comparat.add(gdstk.Reference(via_stack, (15.675,16.485), rotation=pi))
dynamic_biasing_comparat.add(gdstk.Reference(pmos_4, (20.905,20.12), rotation=pi, x_reflection=True))
dynamic_biasing_comparat.add(gdstk.Reference(via_stack_1, (15.56,17.905), rotation=pi))
dynamic_biasing_comparat.add(gdstk.Reference(pmos_4, (20.905,20.12), rotation=pi, x_reflection=True))
dynamic_biasing_comparat.add(gdstk.Reference(ntap1, (12.285,20.56), rotation=pi))
dynamic_biasing_comparat.add(gdstk.Reference(pmos_4, (13.255,20.12)))
dynamic_biasing_comparat.add(gdstk.Reference(via_stack, (12.645,19.325), rotation=pi))
dynamic_biasing_comparat.add(gdstk.Reference(via_stack_1, (18.6,17.905), x_reflection=True))
dynamic_biasing_comparat.add(gdstk.Reference(via_stack, (18.485,16.485), x_reflection=True))
dynamic_biasing_comparat.add(gdstk.Reference(via_stack, (12.645,19.325), rotation=pi))
dynamic_biasing_comparat.add(gdstk.Reference(pmos_4, (13.255,20.12)))
dynamic_biasing_comparat.add(gdstk.Reference(nmos_3, (21.445,16.54), rotation=pi, x_reflection=True))
dynamic_biasing_comparat.add(gdstk.Reference(via_stack, (21.515,17.735), x_reflection=True))
dynamic_biasing_comparat.add(gdstk.Reference(via_stack_10, (24.08,28.285), rotation=pi))
dynamic_biasing_comparat.add(gdstk.Reference(via_stack_10, (9.955,28.27), rotation=pi))
dynamic_biasing_comparat.add(gdstk.Reference(ptap1, (13.825,14.88), rotation=pi))
dynamic_biasing_comparat.add(gdstk.Reference(ptap1, (13.8,13.645), rotation=pi))
dynamic_biasing_comparat.add(gdstk.Reference(ptap1, (13.795,12.38), rotation=pi))
dynamic_biasing_comparat.add(gdstk.Reference(ptap1, (21.15,12.5), rotation=pi))
dynamic_biasing_comparat.add(gdstk.Reference(ptap1, (21.145,13.805), rotation=pi))
dynamic_biasing_comparat.add(gdstk.Reference(ptap1, (21.135,15.055), rotation=pi))
dynamic_biasing_comparat.add(gdstk.Reference(pmos, (-22.51,2.515), rotation=pi))
dynamic_biasing_comparat.add(gdstk.Reference(ptap1, (-20.345,-6.83), rotation=pi))
dynamic_biasing_comparat.add(gdstk.Reference(nmos_7, (-24.27,-6.66), rotation=pi))
dynamic_biasing_comparat.add(gdstk.Reference(ptap1, (-26.285,-6.86), rotation=pi))
dynamic_biasing_comparat.add(gdstk.Reference(via_stack, (-23.675,0.845), rotation=pi))
dynamic_biasing_comparat.add(gdstk.Reference(pmos_6, (-22.51,-1.87), rotation=pi))
dynamic_biasing_comparat.add(gdstk.Reference(nmos_7, (-21.85,-6.66), rotation=pi))
dynamic_biasing_comparat.add(gdstk.Reference(via_stack, (-25.645,-1.57), rotation=pi))
dynamic_biasing_comparat.add(gdstk.Reference(via_stack, (-23.67,-1.045), rotation=pi))
dynamic_biasing_comparat.add(gdstk.Reference(via_stack, (-23.73,-4.15), rotation=pi))
dynamic_biasing_comparat.add(gdstk.Reference(via_stack_8, (-24.93,-8.195), rotation=pi))
dynamic_biasing_comparat.add(gdstk.Reference(via_stack_14, (-26.745,-6.335), rotation=pi))
dynamic_biasing_comparat.add(gdstk.Reference(via_stack_14, (-20.665,-6.235), rotation=pi))
dynamic_biasing_comparat.add(gdstk.Reference(via_stack, (-23.73,-6.075), rotation=pi))
dynamic_biasing_comparat.add(gdstk.Reference(pmos_6, (-16.275,-1.885), x_reflection=True))
dynamic_biasing_comparat.add(gdstk.Reference(pmos, (-16.275,2.5), x_reflection=True))
dynamic_biasing_comparat.add(gdstk.Reference(ptap1, (-12.5,-6.875), x_reflection=True))
dynamic_biasing_comparat.add(gdstk.Reference(via_stack, (-15.11,0.83), x_reflection=True))
dynamic_biasing_comparat.add(gdstk.Reference(ptap1, (-18.44,-6.845), x_reflection=True))
dynamic_biasing_comparat.add(gdstk.Reference(nmos_7, (-14.515,-6.675), x_reflection=True))
dynamic_biasing_comparat.add(gdstk.Reference(nmos_7, (-16.935,-6.675), x_reflection=True))
dynamic_biasing_comparat.add(gdstk.Reference(via_stack, (-13.14,-1.585), x_reflection=True))
dynamic_biasing_comparat.add(gdstk.Reference(via_stack, (-15.115,-1.06), x_reflection=True))
dynamic_biasing_comparat.add(gdstk.Reference(via_stack, (-15.055,-4.165), x_reflection=True))
dynamic_biasing_comparat.add(gdstk.Reference(via_stack, (-15.055,-6.09), x_reflection=True))
dynamic_biasing_comparat.add(gdstk.Reference(via_stack_8, (-13.855,-8.21), x_reflection=True))
dynamic_biasing_comparat.add(gdstk.Reference(via_stack_14, (-12.04,-6.35), x_reflection=True))
dynamic_biasing_comparat.add(gdstk.Reference(via_stack_14, (-18.12,-6.25), x_reflection=True))
dynamic_biasing_comparat.add(gdstk.Reference(via_stack, (-19.88,-2.355), rotation=pi))
dynamic_biasing_comparat.add(gdstk.Reference(via_stack, (-18.89,-2.355), rotation=pi))
dynamic_biasing_comparat.add(gdstk.Reference(via_stack_13, (12.155,0.605), rotation=pi))
dynamic_biasing_comparat.add(gdstk.Reference(via_stack_13, (22.01,0.635), rotation=pi))
dynamic_biasing_comparat.add(gdstk.Reference(via_stack_12, (25.34,3.705), rotation=pi))
dynamic_biasing_comparat.add(gdstk.Reference(via_stack_12, (17.04,3.605), rotation=pi))
dynamic_biasing_comparat.add(gdstk.Reference(ptap1, (16.46,7.365), rotation=pi))
dynamic_biasing_comparat.add(gdstk.Reference(ptap1, (18.48,7.37), rotation=pi))
dynamic_biasing_comparat.add(gdstk.Reference(cmim_1, (6.99,-6.13)))
dynamic_biasing_comparat.add(gdstk.Reference(nmos, (16.42,8.68)))
dynamic_biasing_comparat.add(gdstk.Reference(via_stack_8, (16.085,8.145), rotation=pi))
dynamic_biasing_comparat.add(gdstk.Reference(via_stack_12, (8.785,3.725), rotation=pi))
dynamic_biasing_comparat.add(gdstk.Reference(cmim_1, (20.025,-6.1)))
dynamic_biasing_comparat.add(gdstk.Reference(via_stack_8, (18.19,8.145), rotation=pi))

lib.write_gds('dynamic_biasing_comparator.gds')
